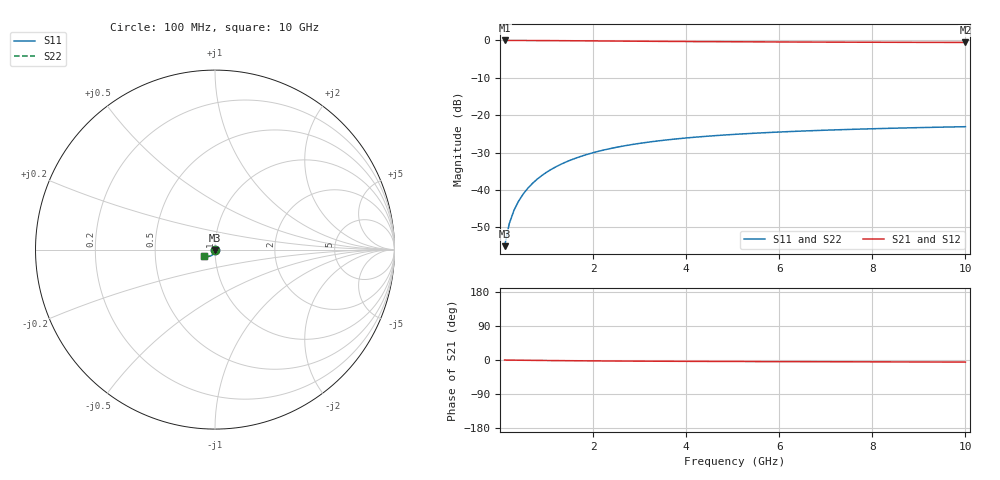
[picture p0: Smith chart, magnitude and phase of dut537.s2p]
! Touchstone file exported from HFSS 2024.1.0
!  File:  C:/UserFiles/LocalFiles/RDL_TSV_Batchsim/temp_TSV1_537_1779705103.aedt
!  Generated:  06:35:22 PM May 25, 2026
!  Design:  TSV1
!  Project:  temp_TSV1_537_1779705103
!  Setup:  Setup1
!  Solution:  Sweep
! Variables:
!  dtsv = 13.33um
!  hbump = 3um
!  htsv = 81.48um
!  lrdl = 252.1521522um
!  p = 40
!  p1 = 40.27um
!  t = 500um
!  trdl = 3um
!  wrdl = 24.89489489um
# GHz S MA R 50.000000
! Terminal data exported
! Port[1] = TSV22_T1
! Port[2] = TSV22_T2
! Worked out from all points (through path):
!   100 points, 100 MHz to 10 GHz, reference 50 ohm
!   highest |S21| = 0.00 dB at 100 MHz (marker M1); lowest = -0.5 dB at 10 GHz (marker M2)
!   lowest |S11| = -55.0 dB at 100 MHz (marker M3), VSWR 1.00, Z = 50 - j0.178 ohm
!   |S11| at or under -10 dB: start of sweep to end of sweep
!   |S22| runs from -55.0 to -23.1 dB; largest |S21 - S12| = 6.2e-15
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0.1  0.001777 -88.4  0.9999 -0.1  0.9999 -0.1  0.001777 -88.4
! Gamma 0 0 0 0
! Port Impedance 50 0 50 0
0.2  0.003554 -91.5  0.9997 -0.3  0.9997 -0.3  0.003554 -91.5
0.3  0.005331 -93.5  0.9995 -0.4  0.9995 -0.4  0.005331 -93.5
0.4  0.007099 -95.1  0.9992 -0.5  0.9992 -0.5  0.007099 -95.1
0.5  0.008853 -96.6  0.9988 -0.7  0.9988 -0.7  0.008852 -96.6
0.6  0.01059 -98.1  0.9983 -0.8  0.9983 -0.8  0.01059 -98.1
0.7  0.0123 -99.5  0.9978 -0.9  0.9978 -0.9  0.0123 -99.5
0.8  0.01399 -100.9  0.9971 -1.1  0.9971 -1.1  0.01399 -100.9
0.9  0.01564 -102.2  0.9965 -1.2  0.9965 -1.2  0.01564 -102.2
1.1  0.01887 -104.9  0.9949 -1.4  0.9949 -1.4  0.01887 -104.9
1.4  0.02344 -108.6  0.9923 -1.8  0.9923 -1.8  0.02344 -108.6
1.6  0.0263 -111.0  0.9904 -2.0  0.9904 -2.0  0.0263 -111.0
1.8  0.029 -113.2  0.9884 -2.1  0.9884 -2.1  0.029 -113.2
2.1  0.03276 -116.4  0.9854 -2.4  0.9854 -2.4  0.03276 -116.4
2.5  0.03724 -120.2  0.9813 -2.7  0.9813 -2.7  0.03724 -120.2
2.9  0.04117 -123.6  0.9774 -3.0  0.9774 -3.0  0.04117 -123.6
3.4  0.04541 -127.3  0.9729 -3.2  0.9729 -3.2  0.04541 -127.3
4.2  0.05093 -132.2  0.9663 -3.6  0.9663 -3.6  0.05093 -132.2
5.1  0.0558 -136.6  0.9601 -4.0  0.9601 -4.0  0.0558 -136.6
6.7  0.06216 -142.2  0.9515 -4.5  0.9515 -4.5  0.06217 -142.2
8.4  0.06696 -146.5  0.945 -5.0  0.945 -5.0  0.06696 -146.5
10  0.07029 -149.5  0.9404 -5.5  0.9404 -5.5  0.07029 -149.5
